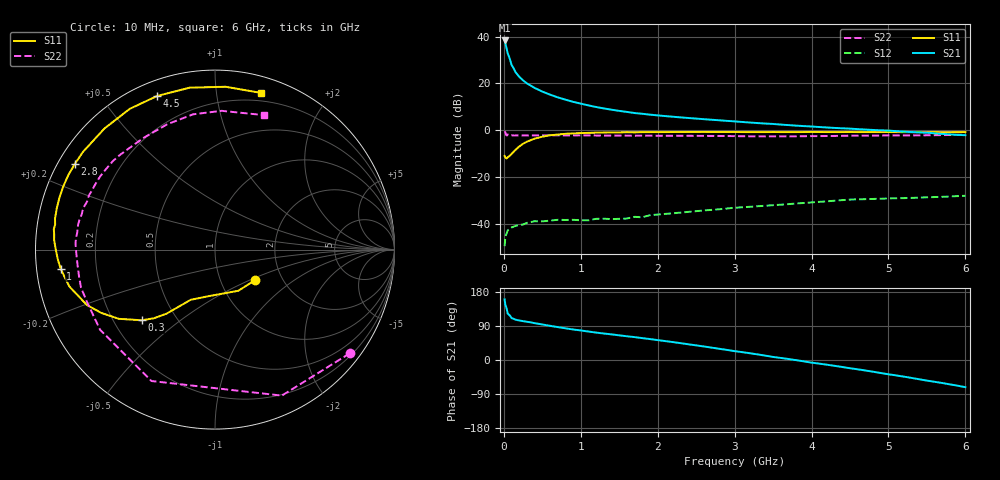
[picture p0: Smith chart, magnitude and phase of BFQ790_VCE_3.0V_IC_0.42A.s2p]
! (c) 2015  Infineon Technologies AG, Munich
! Infineon Technologies  Discrete & RF Semiconductors
! BFQ790
! VCE =  3.0 V,  IC = 0.42 A
! Common Emitter S-Parameters:  May 2015
# GHz  S  MA  R  50
!  f  S11  S21  S12  S22
! GHz  MAG  ANG  MAG  ANG  MAG  ANG  MAG  ANG
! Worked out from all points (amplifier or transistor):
!   77 points, 10 MHz to 6 GHz, reference 50 ohm
!   highest |S21| = 38.4 dB at 10 MHz (marker M1)
!   |S21| within 3 dB of that: start of sweep to 32.64 MHz
!   unconditionally stable (mu >= 1): 158.7 MHz to end of sweep
!   at 130 MHz: K = 0.88, MSG = 33.7 dB, |S12| = -41.2 dB
!   at 2.2 GHz: K = 1.37, MAG = 17.0 dB, |S12| = -35.5 dB
!   at 6 GHz: K = 1.12, MAG = 10.8 dB, |S12| = -28.0 dB
!   S11 on the Smith chart (normalised r, x): 10 MHz: 1.45, -0.54; 300 MHz: 0.32, -0.37; 1 GHz: 0.07, -0.06; 2.8 GHz: 0.05, +0.28; 4.5 GHz: 0.07, +0.69; 6 GHz: 0.13, +1.33
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0.01  0.2804 -37.6  83.18 160.0  0.0033 69.5  0.9475 -37.6
0.02  0.2636 -60.5  71.67 145.4  0.0053 53.4  0.8946 -65.4
0.05  0.2618 -97.8  43.97 122.2  0.0072 26.2  0.8133 -115.8
0.1  0.3105 -115.8  25.07 110.6  0.0083 19.5  0.7807 -145.1
0.15  0.3778 -122.5  17.67 106.4  0.0089 18.7  0.7705 -157.8
0.2  0.4475 -127.1  13.9 104.3  0.0094 22.2  0.7759 -164.1
0.25  0.5126 -131.7  11.62 102.5  0.0096 18.4  0.7724 -168.4
0.3  0.568 -136.1  10.01 100.9  0.0104 16.8  0.7708 -171.8
0.4  0.6596 -144.2  8.012 97.2  0.0113 15.0  0.7716 -176.5
0.5  0.7254 -150.9  6.694 93.6  0.0112 15.7  0.7745 180.0
0.6  0.7784 -156.7  5.773 90.2  0.0116 15.4  0.778 177.3
0.8  0.8371 -165.8  4.51 83.7  0.012 12.4  0.7734 173.0
1  0.8666 -173.0  3.704 78.0  0.0118 13.4  0.7753 169.5
1.1  0.877 -176.3  3.391 75.1  0.0118 16.6  0.7732 167.7
1.5  0.8998 174.6  2.589 65.1  0.0127 18.9  0.7679 162.0
2.1  0.912 163.4  2.003 49.9  0.0162 19.6  0.76 153.1
2.8  0.915 148.4  1.629 29.6  0.0203 12.8  0.7529 138.9
3.1  0.9122 141.4  1.499 20.7  0.0224 10.5  0.7427 132.4
4.1  0.914 119.1  1.169 -9.6  0.0293 -5.1  0.7481 108.5
4.5  0.9147 110.6  1.08 -21.7  0.0328 -13.2  0.7635 99.2
5.1  0.9088 96.4  0.955 -40.7  0.0349 -25.9  0.7731 85.3
6  0.9099 73.6  0.781 -71.7  0.0396 -47.1  0.7983 69.8
